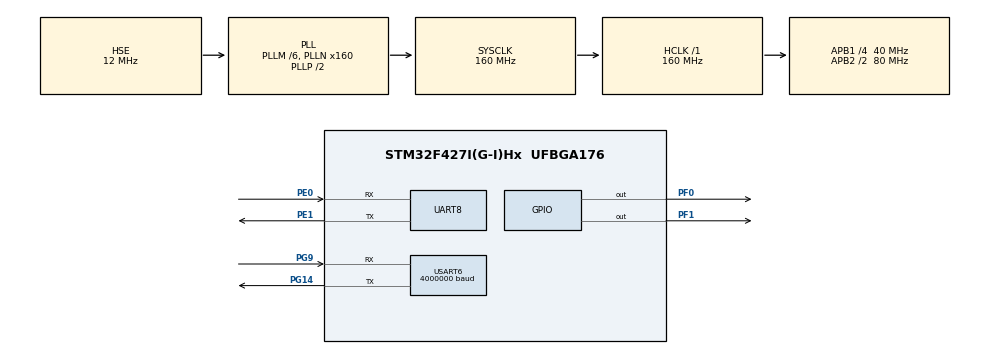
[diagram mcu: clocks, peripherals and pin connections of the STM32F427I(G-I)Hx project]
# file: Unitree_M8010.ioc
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Dma.Request0=USART6_RX
Dma.USART6_RX.0.Direction=DMA_PERIPH_TO_MEMORY
Dma.USART6_RX.0.FIFOMode=DMA_FIFOMODE_DISABLE
Dma.USART6_RX.0.Instance=DMA2_Stream1
Dma.USART6_RX.0.MemDataAlignment=DMA_MDATAALIGN_BYTE
Dma.USART6_RX.0.MemInc=DMA_MINC_ENABLE
Dma.USART6_RX.0.Mode=DMA_NORMAL
Dma.USART6_RX.0.PeriphDataAlignment=DMA_PDATAALIGN_BYTE
Dma.USART6_RX.0.PeriphInc=DMA_PINC_DISABLE
Dma.USART6_RX.0.Priority=DMA_PRIORITY_VERY_HIGH
Mcu.Family=STM32F4
Mcu.Name=STM32F427I(G-I)Hx
Mcu.Package=UFBGA176
NVIC.DMA2_Stream1_IRQn=true\:0\:0\:false\:false\:true\:false\:true\:true
NVIC.PriorityGroup=NVIC_PRIORITYGROUP_4
NVIC.USART6_IRQn=true\:0\:0\:false\:false\:true\:true\:true\:true
PA13.Mode=Serial_Wire
PA13.Signal=SYS_JTMS-SWDIO
PA14.Mode=Serial_Wire
PA14.Signal=SYS_JTCK-SWCLK
PE0.Mode=Asynchronous
PE0.Signal=UART8_RX
PE1.Mode=Asynchronous
PE1.Signal=UART8_TX
PF0.GPIO_Speed=GPIO_SPEED_FREQ_VERY_HIGH
PF0.Signal=GPIO_Output
PF1.Signal=GPIO_Output
PG14.Mode=Asynchronous
PG14.Signal=USART6_TX
PG9.Mode=Asynchronous
PG9.Signal=USART6_RX
PH0/OSC_IN.Mode=HSE-External-Oscillator
PH0/OSC_IN.Signal=RCC_OSC_IN
PH1/OSC_OUT.Mode=HSE-External-Oscillator
PH1/OSC_OUT.Signal=RCC_OSC_OUT
ProjectManager.HeapSize=0x200
ProjectManager.StackSize=0x400
ProjectManager.TargetToolchain=STM32CubeIDE
RCC.48MHZClocksFreq_Value=80000000
RCC.AHBFreq_Value=160000000
RCC.APB1CLKDivider=RCC_HCLK_DIV4
RCC.APB1Freq_Value=40000000
RCC.APB1TimFreq_Value=80000000
RCC.APB2CLKDivider=RCC_HCLK_DIV2
RCC.APB2Freq_Value=80000000
RCC.APB2TimFreq_Value=160000000
RCC.CortexFreq_Value=160000000
RCC.HCLKFreq_Value=160000000
RCC.HSE_VALUE=12000000
RCC.HSI_VALUE=16000000
RCC.LSE_VALUE=32768
RCC.PLLM=6
RCC.PLLN=160
RCC.PLLSourceVirtual=RCC_PLLSOURCE_HSE
RCC.SYSCLKFreq_VALUE=160000000
RCC.SYSCLKSource=RCC_SYSCLKSOURCE_PLLCLK
RCC.VCOOutputFreq_Value=320000000
UART8.VirtualMode=Asynchronous
USART6.BaudRate=4000000
USART6.VirtualMode=VM_ASYNC
board=custom

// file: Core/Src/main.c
/* USER CODE BEGIN Header */
/**
  ******************************************************************************
  * @file           : main.c
  * @brief          : Main program body
  ******************************************************************************
  * @attention
  *
  * Copyright (c) 2023 STMicroelectronics.
  * All rights reserved.
  *
  * This software is licensed under terms that can be found in the LICENSE file
  * in the root directory of this software component.
  * If no LICENSE file comes with this software, it is provided AS-IS.
  *
  ******************************************************************************
  */
/* USER CODE END Header */
#include "main.h"
#include "dma.h"
#include "usart.h"
#include "gpio.h"

/* USER CODE BEGIN Includes */
#include "Unitree_user.h"
#include "retarget.h"
#include <stdio.h>
/* USER CODE END Includes */

void SystemClock_Config(void);

int main(void)
{

  /* MCU Configuration--------------------------------------------------------*/

  /* Reset of all peripherals, Initializes the Flash interface and the Systick. */
  HAL_Init();

  /* Configure the system clock */
  SystemClock_Config();

  /* Initialize all configured peripherals */
  MX_GPIO_Init();
  MX_DMA_Init();
  MX_USART6_UART_Init();
  MX_UART8_Init();
  /* USER CODE BEGIN 2 */
    RetargetInit(&huart8);
    HAL_Delay(500);
    HAL_StatusTypeDef state = Unitree_init(&Unitree_Motor[0]);
    while(state ==HAL_ERROR)
    {
        state = Unitree_init(&Unitree_Motor[0]);
        HAL_Delay(1);
    }
    //Unitree_UART_tranANDrev(Unitree_Motor,0,2,0,0,0,0,0.0);
    //HAL_Delay(6000);
    uint8_t a = 0;
    uint8_t kp =0.2;
    uint8_t key = 0;
  /* USER CODE END 2 */

  /* Infinite loop */
  /* USER CODE BEGIN WHILE */
  while (1)
  {
      //printf("%lu\n",huart6.Instance->BRR);
      HAL_Delay(3);
      //目前击球�?佳参数：
      //Unitree_UART_tranANDrev(Unitree_Motor,0,1,0,0,-3.14,0.5,0.01);
      //HAL_Delay(4000);

      //𝜏 = 𝜏𝑓𝑓 + 𝑘𝑝 × (𝑝𝑑𝑒𝑠 �? 𝑝) + 𝑘𝑑 × (𝜔𝑑𝑒𝑠 �? 𝜔)
      Unitree_UART_tranANDrev(Unitree_Motor,0,1,0,6.28*6.33/5.0,0,0,0.02);
//      if(Unitree_Motor[0].data.W >= 3.14 &&key ==0)
//      {
//          kp=0.6;
//          key = 1;
//      }
      //printf("%d\n",a);
      printf("%.2f,%.2f,%.2f\n",Unitree_Motor[0].data.T,Unitree_Motor[0].data.W/6.33,Unitree_Motor[0].data.Pos/6.33);

    /* USER CODE END WHILE */

  }
}

void SystemClock_Config(void)
{
  RCC_OscInitTypeDef RCC_OscInitStruct = {0};
  RCC_ClkInitTypeDef RCC_ClkInitStruct = {0};

  /** Configure the main internal regulator output voltage
  */
  __HAL_RCC_PWR_CLK_ENABLE();
  __HAL_PWR_VOLTAGESCALING_CONFIG(PWR_REGULATOR_VOLTAGE_SCALE1);

  /** Initializes the RCC Oscillators according to the specified parameters
  * in the RCC_OscInitTypeDef structure.
  */
  RCC_OscInitStruct.OscillatorType = RCC_OSCILLATORTYPE_HSE;
  RCC_OscInitStruct.HSEState = RCC_HSE_ON;
  RCC_OscInitStruct.PLL.PLLState = RCC_PLL_ON;
  RCC_OscInitStruct.PLL.PLLSource = RCC_PLLSOURCE_HSE;
  RCC_OscInitStruct.PLL.PLLM = 6;
  RCC_OscInitStruct.PLL.PLLN = 160;
  RCC_OscInitStruct.PLL.PLLP = RCC_PLLP_DIV2;
  RCC_OscInitStruct.PLL.PLLQ = 4;
  if (HAL_RCC_OscConfig(&RCC_OscInitStruct) != HAL_OK)
  {
    Error_Handler();
  }

  /** Initializes the CPU, AHB and APB buses clocks
  */
  RCC_ClkInitStruct.ClockType = RCC_CLOCKTYPE_HCLK|RCC_CLOCKTYPE_SYSCLK
                              |RCC_CLOCKTYPE_PCLK1|RCC_CLOCKTYPE_PCLK2;
  RCC_ClkInitStruct.SYSCLKSource = RCC_SYSCLKSOURCE_PLLCLK;
  RCC_ClkInitStruct.AHBCLKDivider = RCC_SYSCLK_DIV1;
  RCC_ClkInitStruct.APB1CLKDivider = RCC_HCLK_DIV4;
  RCC_ClkInitStruct.APB2CLKDivider = RCC_HCLK_DIV2;

  if (HAL_RCC_ClockConfig(&RCC_ClkInitStruct, FLASH_LATENCY_5) != HAL_OK)
  {
    Error_Handler();
  }
}

void Error_Handler(void)
{
  __disable_irq();
  while (1)
  {
  }
}
